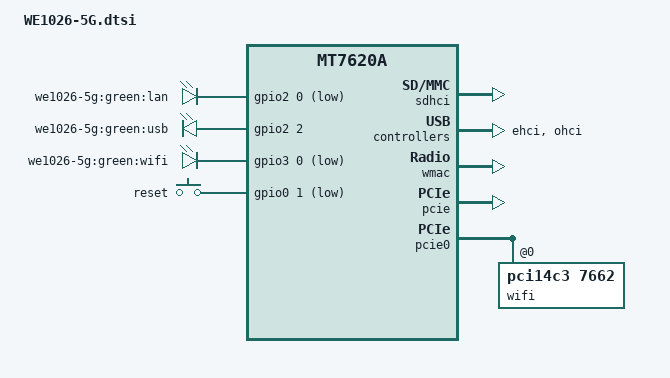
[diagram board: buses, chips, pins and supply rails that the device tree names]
/*
 *  BSD LICENSE
 *
 *  Copyright(c) 2017 Kristian Evensen <kristian.evensen@gmail.com>.
 *  All rights reserved.
 *
 *  Redistribution and use in source and binary forms, with or without
 *  modification, are permitted provided that the following conditions
 *  are met:
 *
 *    * Redistributions of source code must retain the above copyright
 *      notice, this list of conditions and the following disclaimer.
 *    * Redistributions in binary form must reproduce the above copyright
 *      notice, this list of conditions and the following disclaimer in
 *      the documentation and/or other materials provided with the
 *      distribution.
 *    * Neither the name of Broadcom Corporation nor the names of its
 *      contributors may be used to endorse or promote products derived
 *      from this software without specific prior written permission.
 *
 *  THIS SOFTWARE IS PROVIDED BY THE COPYRIGHT HOLDERS AND CONTRIBUTORS
 *  "AS IS" AND ANY EXPRESS OR IMPLIED WARRANTIES, INCLUDING, BUT NOT
 *  LIMITED TO, THE IMPLIED WARRANTIES OF MERCHANTABILITY AND FITNESS FOR
 *  A PARTICULAR PURPOSE ARE DISCLAIMED. IN NO EVENT SHALL THE COPYRIGHT
 *  OWNER OR CONTRIBUTORS BE LIABLE FOR ANY DIRECT, INDIRECT, INCIDENTAL,
 *  SPECIAL, EXEMPLARY, OR CONSEQUENTIAL DAMAGES (INCLUDING, BUT NOT
 *  LIMITED TO, PROCUREMENT OF SUBSTITUTE GOODS OR SERVICES; LOSS OF USE,
 *  DATA, OR PROFITS; OR BUSINESS INTERRUPTION) HOWEVER CAUSED AND ON ANY
 *  THEORY OF LIABILITY, WHETHER IN CONTRACT, STRICT LIABILITY, OR TORT
 *  (INCLUDING NEGLIGENCE OR OTHERWISE) ARISING IN ANY WAY OUT OF THE USE
 *  OF THIS SOFTWARE, EVEN IF ADVISED OF THE POSSIBILITY OF SUCH DAMAGE.
 */

#include "mt7620a.dtsi"

#include <dt-bindings/gpio/gpio.h>
#include <dt-bindings/input/input.h>

/ {
	compatible = "zbtlink,we1026-5g", "ralink,mt7620a-soc";

	chosen {
		bootargs = "console=ttyS0,115200";
	};

	gpio-leds {
		compatible = "gpio-leds";
		lan {
			label = "we1026-5g:green:lan";
			gpios = <&gpio2 0 GPIO_ACTIVE_LOW>;
		};

		usb {
			label = "we1026-5g:green:usb";
			gpios = <&gpio2 2 GPIO_ACTIVE_HIGH>;
			trigger-sources = <&ohci_port1>, <&ehci_port1>;
			linux,default-trigger = "usbport";
		};

		wifi {
			label = "we1026-5g:green:wifi";
			gpios = <&gpio3 0 GPIO_ACTIVE_LOW>;
		};
	};

	gpio-keys-polled {
		compatible = "gpio-keys-polled";
		poll-interval = <20>;
		reset {
			label = "reset";
			gpios = <&gpio0 1 GPIO_ACTIVE_LOW>;
			linux,code = <KEY_RESTART>;
		};
	};
};

&gpio2 {
	status = "okay";
};

&gpio3 {
	status = "okay";
};

&sdhci {
	status = "okay";
};

&ehci {
	status = "okay";
};

&ohci {
	status = "okay";
};

&ethernet {
	mtd-mac-address = <&factory 0x28>;
};

&wmac {
	ralink,mtd-eeprom = <&factory 0>;
};

&pinctrl {
	state_default: pinctrl0 {
		default {
			ralink,group = "i2c", "uartf", "spi refclk", "ephy", "wled";
			ralink,function = "gpio";
		};
	};
};

&pcie {
	status = "okay";
};

&pcie0 {
	wifi@0,0 {
		compatible = "pci14c3,7662";
		reg = <0x0000 0 0 0 0>;
		mediatek,mtd-eeprom = <&factory 0x8000>;
		ieee80211-freq-limit = <5000000 6000000>;
	};
};
